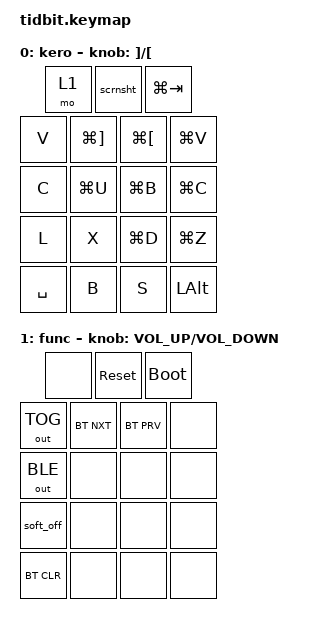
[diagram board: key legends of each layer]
/*
 * Copyright (c) 2020 The ZMK Contributors
 *
 * SPDX-License-Identifier: MIT
 */

#include <behaviors.dtsi>
#include <dt-bindings/zmk/bt.h>
#include <dt-bindings/zmk/keys.h>
#include <dt-bindings/zmk/outputs.h>

&soft_off {
    hold-time-ms = <2000>; // Only turn off it the key is held for 2 seconds or longer.
};

&nice_view_spi {
    cs-gpios = <&gpio1 1 GPIO_ACTIVE_HIGH>;
};

&encoder_1_top_row {
    status = "okay";
};

/* Enable ONLY ONE of the &encoder_1 nodes. They are wired to the same pins.*/
/*

&encoder_1 {
    status = "okay";
};
&encoder_1_top_row {
    status = "okay";
};
*/

/*
&encoder_2 {
    status = "okay";
};

&encoder_3 {
    status = "okay";
};
*/

&encoder_4 {
    status = "okay";
};

/* Add any encoder(s) you have enabled to the sensors node, separated by spaces. */
&sensors {
    sensors = <&encoder_1_top_row>;
    triggers-per-rotation = <20>;
};

/ {
    macros {
        scrnsht: scrnsht {
            label = "SS_scrnsht";
            compatible = "zmk,behavior-macro";
            #binding-cells = <0>;
            bindings
                = <&macro_press &kp RCMD &kp LSHFT>
                , <&macro_tap &kp NUMBER_4>
                , <&macro_release &kp RCMD &kp LSHFT>
                ;
        };
    };
};

/ {
    keymap {
        compatible = "zmk,keymap";

        default_layer {
            display-name = "kero";
            bindings = <
                                &mo 1  &scrnsht &kp LG(TAB)
                &kp V &kp LG(RBKT) &kp LG(LBKT) &kp LG(V)
                &kp C &kp LG(U) &kp LG(B) &kp LG(C)
                &kp L &kp X &kp LG(D) &kp LG(Z)
                &kp SPACE  &kp B  &kp S     &kp LALT
            >;

            sensor-bindings = <&inc_dec_kp RIGHT_BRACKET LEFT_BRACKET>;
        };

         func_layer {
             display-name = "func";
             bindings = <
                                &none           &sys_reset      &bootloader
                &out OUT_TOG    &bt BT_NXT    &bt BT_PRV    &none
                &out OUT_BLE    &none      &none      &none
                &soft_off    &none    &none    &none
                &bt BT_CLR      &none           &none           &none
             >;

             sensor-bindings = <&inc_dec_kp C_VOLUME_UP C_VOLUME_DOWN>;
         };
    };
};
